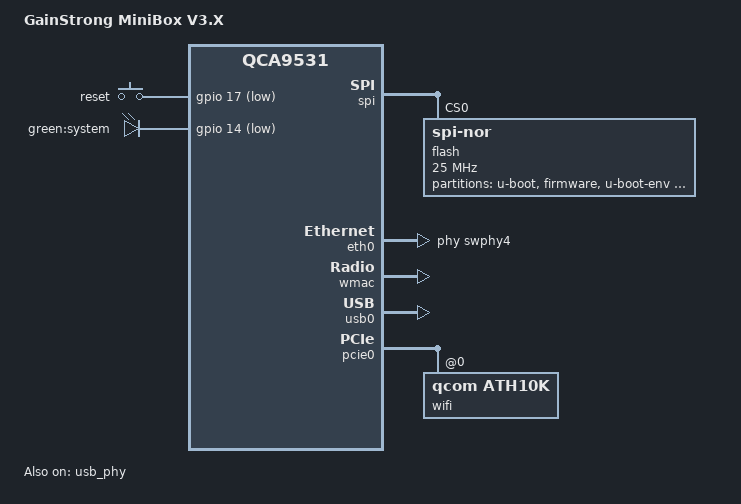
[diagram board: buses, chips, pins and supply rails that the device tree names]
// SPDX-License-Identifier: GPL-2.0-or-later OR MIT

#include "qca953x.dtsi"

#include <dt-bindings/gpio/gpio.h>
#include <dt-bindings/input/input.h>

/ {
	compatible = "gainstrong,minibox-v3", "qca,qca9531";
	model = "GainStrong MiniBox V3.X";

	aliases {
		label-mac-device = &wmac;
		led-boot = &led_system;
		led-failsafe = &led_system;
		led-running = &led_system;
		led-upgrade = &led_system;
	};

	keys {
		compatible = "gpio-keys";

		/* Reset button, GPIO17, active low */
		reset {
			label = "reset";
			linux,code = <KEY_RESTART>;
			gpios = <&gpio 17 GPIO_ACTIVE_LOW>;
			debounce-interval = <60>;
		};
	};

	leds {
		compatible = "gpio-leds";

		/*
		 * Single status LED on GPIO14, active low.  The board has no
		 * per-port WAN/LAN LED.
		 */
		led_system: led {
			label = "green:system";
			gpios = <&gpio 14 GPIO_ACTIVE_LOW>;
		};
	};
};

&spi {
	status = "okay";

	flash@0 {
		compatible = "jedec,spi-nor";
		reg = <0>;
		spi-max-frequency = <25000000>;

		/*
		 * The same image runs on 16/32/64 MiB boards, so the layout is
		 * resolved from the real flash size at boot:
		 *  - "firmware" ends 128 KiB before the end of the flash
		 *    (64 KiB U-Boot environment + 64 KiB calibration data);
		 *  - "u-boot-env" and "art" are anchored to the end of the flash.
		 * The parser implementation lives in
		 * target/linux/generic/hack-6.12/490-add-gainstrong-dynamic-mtd-partition-support.patch
		 */
		partitions {
			compatible = "gainstrong-dynamic-mtd";
			#address-cells = <1>;
			#size-cells = <1>;

			partition@0 {
				label = "u-boot";
				reg = <0x000000 0x020000>;
				read-only;
			};

			firmware {
				compatible = "tplink,firmware";
				label = "firmware";
				dynamic-end;
				reg = <0x020000 0x020000>;
			};

			ubootenv {
				label = "u-boot-env";
				tail-partition;
				reg = <0x020000 0x010000>;
			};

			art: art {
				label = "art";
				tail-partition;
				reg = <0x010000 0x010000>;
				read-only;

				nvmem-layout {
					compatible = "fixed-layout";
					#address-cells = <1>;
					#size-cells = <1>;

					/*
					 * The label MAC sits at 0x1002, two
					 * bytes into the 2.4 GHz calibration
					 * block, and both radios pick their own
					 * address up from their calibration
					 * blocks.  The ethernet ports are
					 * derived from the label address with
					 * the increment passed as a cell
					 * argument: LAN is label + 1 and WAN is
					 * label + 2, which matches what the
					 * factory wrote into the old firmware.
					 *
					 * mac-address-increment would express
					 * the same thing, but that property no
					 * longer exists in this tree; the
					 * increment now travels as a "mac-base"
					 * cell argument instead.
					 */
					macaddr_art_1002: mac-address@1002 {
						compatible = "mac-base";
						reg = <0x1002 0x6>;
						#nvmem-cell-cells = <1>;
					};

					cal_art_1000: calibration@1000 {
						reg = <0x1000 0x440>;
					};

					cal_art_5000: calibration@5000 {
						reg = <0x5000 0x844>;
					};
				};
			};
		};
	};
};

/*
 * LAN is the jack next to the reset button, WAN the one on the micro-USB power
 * side.  board.d/02_network maps LAN to eth0 and WAN to eth1.
 *
 * Note the naming: ag71xx takes eth%d from devm_alloc_etherdev(), so the names
 * follow probe order and not the node order in this file.  On this board the
 * GMAC at 1a000000 enumerates first and comes up as eth0, which makes the LAN
 * port the &eth1 node below and the WAN port &eth0.  Keep the increments in
 * step with that or the two ports trade addresses.
 */
&eth0 {
	status = "okay";

	phy-handle = <&swphy4>;

	/* 19000000.eth, WAN: label + 2 */
	nvmem-cells = <&macaddr_art_1002 2>;
	nvmem-cell-names = "mac-address";
};

&eth1 {
	/* 1a000000.eth, LAN: label + 1 */
	nvmem-cells = <&macaddr_art_1002 1>;
	nvmem-cell-names = "mac-address";
};

&wmac {
	status = "okay";

	nvmem-cells = <&cal_art_1000>;
	nvmem-cell-names = "calibration";
};

&usb_phy {
	status = "okay";
};

&usb0 {
	status = "okay";
};

/*
 * MiniBox V3.0 and V3.2 share this image.  V3.2 solders a QCA9887 5 GHz radio
 * (PCI ID 168c:0050) onto the SoC PCIe bus; V3.0 leaves that part unpopulated.
 * The controller therefore stays enabled on both variants - with no endpoint
 * attached the bus stays idle and only the on-SoC 2.4 GHz radio comes up.
 *
 * The QCA9887 module carries no EEPROM of its own, so ath10k finds no
 * calibration there and refuses to bring the card up.  The per-card
 * calibration data sits in the ART partition at 0x5000 and is handed to the
 * driver through nvmem, the same way the on-SoC radio gets its own block from
 * 0x1000.
 */
&pcie0 {
	status = "okay";

	wifi@0,0 {
		compatible = "qcom,ath10k";
		reg = <0x0000 0 0 0 0>;
		nvmem-cells = <&cal_art_5000>;
		nvmem-cell-names = "calibration";
	};
};
